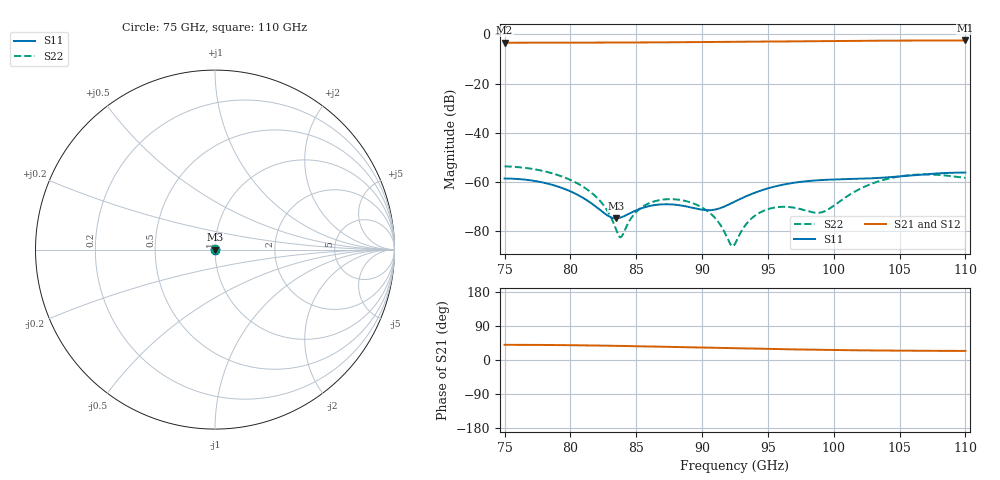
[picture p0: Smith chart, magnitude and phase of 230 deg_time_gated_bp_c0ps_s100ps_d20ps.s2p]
# Hz S RI R 50.000000
! Metas.Vna.Tools, 2.4.7724.19584
! Metas.Vna.Data, 2.4.7724.19560
! Created: UTC 2021.04.29 12:40:11
! FREQ  re:S1,1  im:S1,1  re:S2,1  im:S2,1  re:S1,2  im:S1,2  re:S2,2  im:S2,2
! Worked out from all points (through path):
!   1401 points, 75 GHz to 110 GHz, reference 50 ohm
!   highest |S21| = -2.54 dB at 110 GHz (marker M1); lowest = -3.5 dB at 75 GHz (marker M2)
!   lowest |S11| = -74.7 dB at 83.45 GHz (marker M3), VSWR 1.00, Z = 50 + j0.00318 ohm
!   |S11| at or under -10 dB: start of sweep to end of sweep
!   |S22| runs from -86.0 to -53.6 dB; largest |S21 - S12| = 0.051
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7.5e10  -0.000148 -0.00118  0.513 0.4319  0.4989 0.4519  -0.00143 0.00152
7.8175e10  -0.000178 -0.00093  0.5167 0.4287  0.5029 0.4482  -0.000971 0.0013
8.085e10  -0.00021 -0.000452  0.5253 0.4214  0.5122 0.4394  -0.000426 0.000727
8.24e10  -0.000204 -0.000151  0.5323 0.4154  0.5199 0.4322  -0.000137 0.000348
8.345e10  -0.000182 3.18e-05  0.5378 0.4108  0.5259 0.4265  2.13e-05 0.000111
8.4e10  -0.000164 0.000116  0.5409 0.4082  0.5294 0.4232  8.89e-05 -2.47e-07
8.5175e10  -0.000111 0.000258  0.548 0.4023  0.5373 0.4157  0.000194 -0.000196
8.6675e10  -1.86e-05 0.00035  0.5579 0.3942  0.5484 0.4052  0.000251 -0.000346
8.9425e10  0.000182 0.000234  0.5776 0.3784  0.5712 0.3836  0.000169 -0.000322
9.0675e10  0.00026 7.3e-05  0.587 0.3711  0.5822 0.3731  8.27e-05 -0.000211
9.1725e10  0.000308 -9.81e-05  0.595 0.3649  0.5917 0.3641  2.75e-06 -9.47e-05
9.25e10  0.000328 -0.000238  0.6008 0.3604  0.5988 0.3573  -5.57e-05 -7.08e-06
9.2925e10  0.000333 -0.000316  0.604 0.358  0.6026 0.3536  -8.64e-05 3.85e-05
9.4e10  0.000324 -0.000516  0.6121 0.352  0.6125 0.3442  -0.000156 0.000136
9.5225e10  0.000273 -0.000728  0.621 0.3454  0.6235 0.3336  -0.000217 0.000199
9.66e10  0.000162 -0.000922  0.6307 0.3384  0.6356 0.322  -0.000254 0.000182
9.835e10  -5.29e-05 -0.00107  0.6422 0.3303  0.6503 0.3079  -0.000245 1.2e-05
9.9325e10  -0.000202 -0.00109  0.6481 0.3262  0.6579 0.3005  -0.00021 -0.00015
1.01925e11  -0.000653 -0.00097  0.662 0.3168  0.676 0.2829  -2.39e-06 -0.000715
1.04175e11  -0.00104 -0.000706  0.6712 0.3108  0.6884 0.2709  0.000299 -0.00114
1.068e11  -0.00139 -0.000374  0.6785 0.3061  0.6982 0.2614  0.000727 -0.00123
1.1e11  -0.00155 -0.000188  0.6817 0.3041  0.7025 0.2572  0.00112 -0.000474
